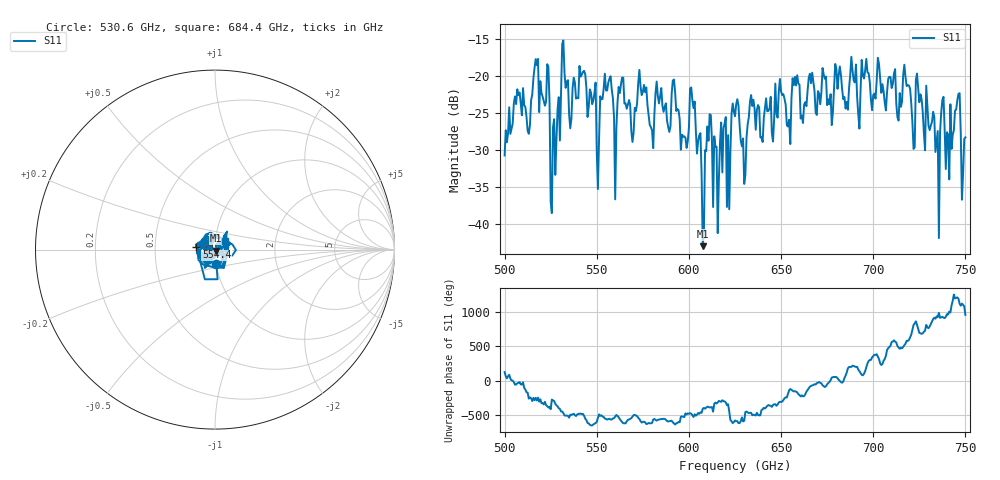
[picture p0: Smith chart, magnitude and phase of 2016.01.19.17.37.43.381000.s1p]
!Created with skrf (http://scikit-rf.org).
# GHz S RI R 50.0
!freq ReS11 ImS11
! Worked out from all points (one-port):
!   401 points, 500 GHz to 750 GHz, reference 50 ohm
!   lowest |S11| = -43.0 dB at 607.5 GHz (marker M1), VSWR 1.01, Z = 50.5 - j0.509 ohm
!   |S11| at or under -10 dB: start of sweep to end of sweep
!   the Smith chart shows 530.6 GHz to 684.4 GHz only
!   S11 on the Smith chart (normalised r, x): 530.6 GHz: 1.00, -0.16; 554.4 GHz: 0.81, +0.02; 684.4 GHz: 1.11, +0.11
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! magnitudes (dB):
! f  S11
! 500 GHz  -30.7
! 506.9 GHz  -21.8
! 513.1 GHz  -27.8
! 516.9 GHz  -17.7
! 523.1 GHz  -18.4
! 526.2 GHz  -26.9
! 530.6 GHz  -21.9
! 531.2 GHz  -15.6
! 551.2 GHz  -28.5
! 554.4 GHz  -19.7
! 560 GHz  -36.7
! 562.5 GHz  -22.3
! 593.8 GHz  -24.4
! 598.1 GHz  -28.3
! 601.9 GHz  -23.3
! 607.5 GHz  -43.0
! 610.6 GHz  -28.7
! 621.9 GHz  -38.0
! 625 GHz  -25.4
! 629.4 GHz  -28.4
! 634.4 GHz  -24.0
! 656.2 GHz  -20.3
! 684.4 GHz  -22.8
! 687.5 GHz  -19.9
! 718.8 GHz  -21.2
! 735 GHz  -27.4
! 745.6 GHz  -23.2
! 750 GHz  -28.3
